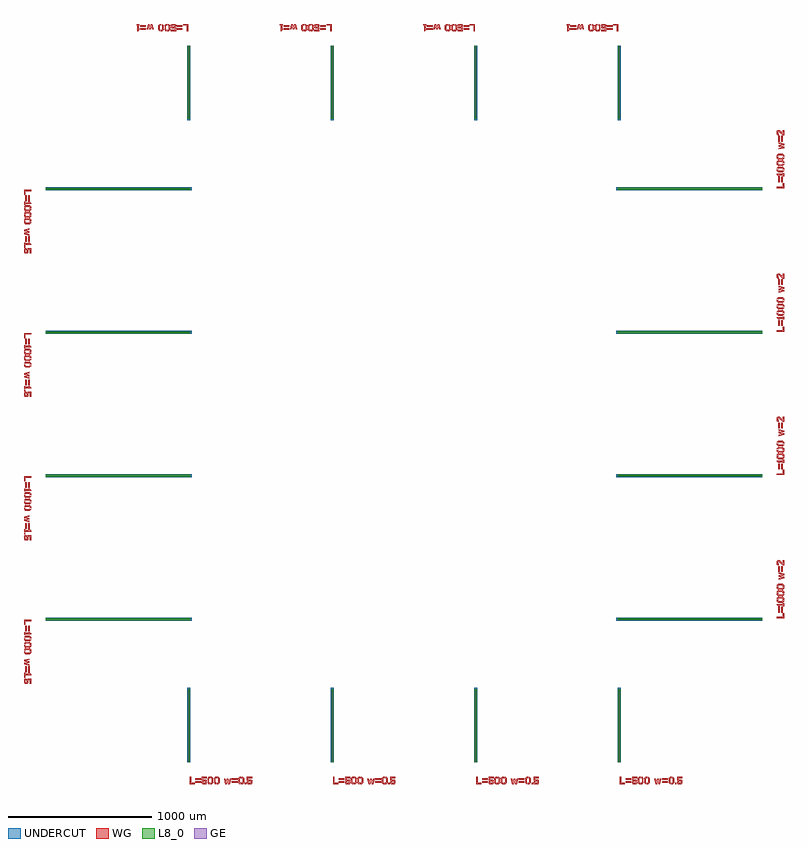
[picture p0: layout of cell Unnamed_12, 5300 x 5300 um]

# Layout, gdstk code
from math import pi, radians
import gdstk
lib = gdstk.Library(unit=1e-6, precision=1e-09)
def R(c, l, rs):  # rectangles x0, y0, x1, y1
    for r in rs: c.add(gdstk.rectangle(r[:2], r[2:], *l))
def P(c, l, *ps):  # polygons
    for p in ps: c.add(gdstk.Polygon(p, *l))
WG = (1, 0)
GE = (5, 0)
UNDERCUT = (6, 0)
L8_0 = (8, 0)

rectangle_s22_1020_l6_0_ = lib.new_cell('rectangle_S22_1020_L6_0_e65ce914')
R(rectangle_s22_1020_l6_0_, UNDERCUT, [(0,0,22,1020)])

rectangle_s2_1000_l5_0__ = lib.new_cell('rectangle_S2_1000_L5_0__abc0439f')
R(rectangle_s2_1000_l5_0__, GE, [(0,0,2,1000)])

rectangle_s11p5_1010_l8_ = lib.new_cell('rectangle_S11p5_1010_L8_233aab19')
R(rectangle_s11p5_1010_l8_, L8_0, [(0,0,11.5,1010)])

text_tl1000_w2_s50_p0_0_ = lib.new_cell('text_TL1000_w2_S50_P0_0_6196c11b')
R(text_tl1000_w2_s50_p0_0_, WG, [(45,10,85,20), (330,10,370,20), (45,30,85,40), (330,30,370,40)])
P(text_tl1000_w2_s50_p0_0_, WG, [(5,0),(5,50),(15,50),(15,10),(40,10),(40,0)],
  [(375,0),(375,10),(400,35),(400,40),(385,40),(385,35),(375,35),(375,45),(380,50),(405,50),(410,45),(410,30),(390,10),(410,10),(410,0)],
  [(133.5,0),(136,10),(140,10),(145,15),(145,35),(140,40),(142.5,50),(145,50),(155,40),(155,10),(145,0)],
  [(178.5,0),(181,10),(185,10),(190,15),(190,35),(185,40),(187.5,50),(190,50),(200,40),(200,10),(190,0)],
  [(223.5,0),(226,10),(230,10),(235,15),(235,35),(230,40),(232.5,50),(235,50),(245,40),(245,10),(235,0)],
  [(125,0),(115,10),(115,40),(125,50),(136.5,50),(134,40),(130,40),(125,35),(125,15),(130,10),(127.5,0)],
  [(170,0),(160,10),(160,40),(170,50),(181.5,50),(179,40),(175,40),(170,35),(170,15),(175,10),(172.5,0)],
  [(215,0),(205,10),(205,40),(215,50),(226.5,50),(224,40),(220,40),(215,35),(215,15),(220,10),(217.5,0)],
  [(285,0),(275,35),(285,35),(290,17.5),(295,35),(305,35),(310,17.5),(315,35),(325,35),(315,0),(305,0),(300,17.5),(295,0)],
  [(90,0),(90,10),(95,10),(95,30),(90,30),(90,40),(100,50),(105,50),(105,10),(110,10),(110,0)])

rectangle_s21p5_1020_l6_ = lib.new_cell('rectangle_S21p5_1020_L6_5e93899b')
R(rectangle_s21p5_1020_l6_, UNDERCUT, [(0,0,21.5,1020)])

rectangle_s12_1010_l8_0_ = lib.new_cell('rectangle_S12_1010_L8_0_02210766')
R(rectangle_s12_1010_l8_0_, L8_0, [(0,0,12,1010)])

rectangle_s10p5_1010_l8_ = lib.new_cell('rectangle_S10p5_1010_L8_3717f936')
R(rectangle_s10p5_1010_l8_, L8_0, [(0,0,10.5,1010)])

rectangle_s1p5_1000_l5__ = lib.new_cell('rectangle_S1p5_1000_L5__7c39a208')
R(rectangle_s1p5_1000_l5__, GE, [(0,0,1.5,1000)])

rectangle_s20p5_1020_l6_ = lib.new_cell('rectangle_S20p5_1020_L6_9f5ee5a2')
R(rectangle_s20p5_1020_l6_, UNDERCUT, [(0,0,20.5,1020)])

rectangle_s11_1010_l8_0_ = lib.new_cell('rectangle_S11_1010_L8_0_b6aa4b73')
R(rectangle_s11_1010_l8_0_, L8_0, [(0,0,11,1010)])

rectangle_s21_1020_l6_0_ = lib.new_cell('rectangle_S21_1020_L6_0_1d906fb0')
R(rectangle_s21_1020_l6_0_, UNDERCUT, [(0,0,21,1020)])

rectangle_s0p5_1000_l5__ = lib.new_cell('rectangle_S0p5_1000_L5__fdde3fbd')
R(rectangle_s0p5_1000_l5__, GE, [(0,0,0.5,1000)])

rectangle_s1_1000_l5_0__ = lib.new_cell('rectangle_S1_1000_L5_0__ff0c7743')
R(rectangle_s1_1000_l5_0__, GE, [(0,0,1,1000)])

unnamed_11 = lib.new_cell('Unnamed_11')
unnamed_11.add(gdstk.Reference(rectangle_s22_1020_l6_0_, (3990,0)))
unnamed_11.add(gdstk.Reference(rectangle_s2_1000_l5_0__, (4000,0)))
unnamed_11.add(gdstk.Reference(rectangle_s11p5_1010_l8_, (2995,0)))
unnamed_11.add(gdstk.Reference(text_tl1000_w2_s50_p0_0_, (1000,-150)))
unnamed_11.add(gdstk.Reference(text_tl1000_w2_s50_p0_0_, (2000,-150)))
unnamed_11.add(gdstk.Reference(text_tl1000_w2_s50_p0_0_, (3000,-150)))
unnamed_11.add(gdstk.Reference(text_tl1000_w2_s50_p0_0_, (4000,-150)))
unnamed_11.add(gdstk.Reference(rectangle_s21p5_1020_l6_, (2990,0)))
unnamed_11.add(gdstk.Reference(rectangle_s12_1010_l8_0_, (3995,0)))
unnamed_11.add(gdstk.Reference(rectangle_s10p5_1010_l8_, (995,0)))
unnamed_11.add(gdstk.Reference(rectangle_s1p5_1000_l5__, (3000,0)))
unnamed_11.add(gdstk.Reference(rectangle_s20p5_1020_l6_, (990,0)))
unnamed_11.add(gdstk.Reference(rectangle_s11_1010_l8_0_, (1995,0)))
unnamed_11.add(gdstk.Reference(rectangle_s21_1020_l6_0_, (1990,0)))
unnamed_11.add(gdstk.Reference(rectangle_s0p5_1000_l5__, (1000,0)))
unnamed_11.add(gdstk.Reference(rectangle_s1_1000_l5_0__, (2000,0)))

rectangle_s20p5_520_l6__ = lib.new_cell('rectangle_S20p5_520_L6__79b64b17')
R(rectangle_s20p5_520_l6__, UNDERCUT, [(0,0,20.5,520)])

rectangle_s21_520_l6_0__ = lib.new_cell('rectangle_S21_520_L6_0__a43d66c6')
R(rectangle_s21_520_l6_0__, UNDERCUT, [(0,0,21,520)])

rectangle_s2_500_l5_0_c_ = lib.new_cell('rectangle_S2_500_L5_0_C_28cbfda4')
R(rectangle_s2_500_l5_0_c_, GE, [(0,0,2,500)])

rectangle_s11p5_510_l8__ = lib.new_cell('rectangle_S11p5_510_L8__30e6584e')
R(rectangle_s11p5_510_l8__, L8_0, [(0,0,11.5,510)])

text_tl500_w1_s50_p0_0__ = lib.new_cell('text_TL500_w1_S50_P0_0__49b9cf80')
R(text_tl500_w1_s50_p0_0__, WG, [(45,10,85,20), (300,10,340,20), (45,30,85,40), (300,30,340,40)])
P(text_tl500_w1_s50_p0_0__, WG, [(345,0),(345,10),(350,10),(350,30),(345,30),(345,40),(355,50),(360,50),(360,10),(365,10),(365,0)],
  [(5,0),(5,50),(15,50),(15,10),(40,10),(40,0)],
  [(148.5,0),(151,10),(155,10),(160,15),(160,35),(155,40),(157.5,50),(160,50),(170,40),(170,10),(160,0)],
  [(193.5,0),(196,10),(200,10),(205,15),(205,35),(200,40),(202.5,50),(205,50),(215,40),(215,10),(205,0)],
  [(140,0),(130,10),(130,40),(140,50),(151.5,50),(149,40),(145,40),(140,35),(140,15),(145,10),(142.5,0)],
  [(185,0),(175,10),(175,40),(185,50),(196.5,50),(194,40),(190,40),(185,35),(185,15),(190,10),(187.5,0)],
  [(95,0),(90,5),(90,15),(100,15),(100,10),(115,10),(115,20),(95,20),(90,25),(90,50),(125,50),(125,40),(100,40),(100,30),(120,30),(125,25),(125,5),(120,0)],
  [(255,0),(245,35),(255,35),(260,17.5),(265,35),(275,35),(280,17.5),(285,35),(295,35),(285,0),(275,0),(270,17.5),(265,0)])

rectangle_s21p5_520_l6__ = lib.new_cell('rectangle_S21p5_520_L6__904162f9')
R(rectangle_s21p5_520_l6__, UNDERCUT, [(0,0,21.5,520)])

rectangle_s12_510_l8_0__ = lib.new_cell('rectangle_S12_510_L8_0__7856cf41')
R(rectangle_s12_510_l8_0__, L8_0, [(0,0,12,510)])

rectangle_s1p5_500_l5_0_ = lib.new_cell('rectangle_S1p5_500_L5_0_4cbd8c13')
R(rectangle_s1p5_500_l5_0_, GE, [(0,0,1.5,500)])

rectangle_s22_520_l6_0__ = lib.new_cell('rectangle_S22_520_L6_0__bad4d0ba')
R(rectangle_s22_520_l6_0__, UNDERCUT, [(0,0,22,520)])

rectangle_s10p5_510_l8__ = lib.new_cell('rectangle_S10p5_510_L8__4a735b76')
R(rectangle_s10p5_510_l8__, L8_0, [(0,0,10.5,510)])

rectangle_s11_510_l8_0__ = lib.new_cell('rectangle_S11_510_L8_0__012e07eb')
R(rectangle_s11_510_l8_0__, L8_0, [(0,0,11,510)])

rectangle_s1_500_l5_0_c_ = lib.new_cell('rectangle_S1_500_L5_0_C_7a725fb0')
R(rectangle_s1_500_l5_0_c_, GE, [(0,0,1,500)])

rectangle_s0p5_500_l5_0_ = lib.new_cell('rectangle_S0p5_500_L5_0_ba7ba93c')
R(rectangle_s0p5_500_l5_0_, GE, [(0,0,0.5,500)])

unnamed_9 = lib.new_cell('Unnamed_9')
unnamed_9.add(gdstk.Reference(rectangle_s20p5_520_l6__, (990,0)))
unnamed_9.add(gdstk.Reference(rectangle_s21_520_l6_0__, (1990,0)))
unnamed_9.add(gdstk.Reference(rectangle_s2_500_l5_0_c_, (4000,0)))
unnamed_9.add(gdstk.Reference(rectangle_s11p5_510_l8__, (2995,0)))
unnamed_9.add(gdstk.Reference(text_tl500_w1_s50_p0_0__, (1000,-150)))
unnamed_9.add(gdstk.Reference(text_tl500_w1_s50_p0_0__, (2000,-150)))
unnamed_9.add(gdstk.Reference(text_tl500_w1_s50_p0_0__, (3000,-150)))
unnamed_9.add(gdstk.Reference(text_tl500_w1_s50_p0_0__, (4000,-150)))
unnamed_9.add(gdstk.Reference(rectangle_s21p5_520_l6__, (2990,0)))
unnamed_9.add(gdstk.Reference(rectangle_s12_510_l8_0__, (3995,0)))
unnamed_9.add(gdstk.Reference(rectangle_s1p5_500_l5_0_, (3000,0)))
unnamed_9.add(gdstk.Reference(rectangle_s22_520_l6_0__, (3990,0)))
unnamed_9.add(gdstk.Reference(rectangle_s10p5_510_l8__, (995,0)))
unnamed_9.add(gdstk.Reference(rectangle_s11_510_l8_0__, (1995,0)))
unnamed_9.add(gdstk.Reference(rectangle_s1_500_l5_0_c_, (2000,0)))
unnamed_9.add(gdstk.Reference(rectangle_s0p5_500_l5_0_, (1000,0)))

text_tl1000_w1p5_s50_p0_ = lib.new_cell('text_TL1000_w1p5_S50_P0_775d5ec3')
R(text_tl1000_w1p5_s50_p0_, WG, [(400,0,410,10), (45,10,85,20), (330,10,370,20), (45,30,85,40), (330,30,370,40)])
P(text_tl1000_w1p5_s50_p0_, WG, [(420,0),(415,5),(415,15),(425,15),(425,10),(440,10),(440,20),(420,20),(415,25),(415,50),(450,50),(450,40),(425,40),(425,30),(445,30),(450,25),(450,5),(445,0)],
  [(133.5,0),(136,10),(140,10),(145,15),(145,35),(140,40),(142.5,50),(145,50),(155,40),(155,10),(145,0)],
  [(178.5,0),(181,10),(185,10),(190,15),(190,35),(185,40),(187.5,50),(190,50),(200,40),(200,10),(190,0)],
  [(223.5,0),(226,10),(230,10),(235,15),(235,35),(230,40),(232.5,50),(235,50),(245,40),(245,10),(235,0)],
  [(125,0),(115,10),(115,40),(125,50),(136.5,50),(134,40),(130,40),(125,35),(125,15),(130,10),(127.5,0)],
  [(170,0),(160,10),(160,40),(170,50),(181.5,50),(179,40),(175,40),(170,35),(170,15),(175,10),(172.5,0)],
  [(215,0),(205,10),(205,40),(215,50),(226.5,50),(224,40),(220,40),(215,35),(215,15),(220,10),(217.5,0)],
  [(5,0),(5,50),(15,50),(15,10),(40,10),(40,0)],
  [(285,0),(275,35),(285,35),(290,17.5),(295,35),(305,35),(310,17.5),(315,35),(325,35),(315,0),(305,0),(300,17.5),(295,0)],
  [(90,0),(90,10),(95,10),(95,30),(90,30),(90,40),(100,50),(105,50),(105,10),(110,10),(110,0)],
  [(375,0),(375,10),(380,10),(380,30),(375,30),(375,40),(385,50),(390,50),(390,10),(395,10),(395,0)])

unnamed_10 = lib.new_cell('Unnamed_10')
unnamed_10.add(gdstk.Reference(rectangle_s22_1020_l6_0_, (3990,0)))
unnamed_10.add(gdstk.Reference(rectangle_s2_1000_l5_0__, (4000,0)))
unnamed_10.add(gdstk.Reference(rectangle_s11p5_1010_l8_, (2995,0)))
unnamed_10.add(gdstk.Reference(text_tl1000_w1p5_s50_p0_, (1000,-150)))
unnamed_10.add(gdstk.Reference(text_tl1000_w1p5_s50_p0_, (2000,-150)))
unnamed_10.add(gdstk.Reference(text_tl1000_w1p5_s50_p0_, (3000,-150)))
unnamed_10.add(gdstk.Reference(text_tl1000_w1p5_s50_p0_, (4000,-150)))
unnamed_10.add(gdstk.Reference(rectangle_s21p5_1020_l6_, (2990,0)))
unnamed_10.add(gdstk.Reference(rectangle_s12_1010_l8_0_, (3995,0)))
unnamed_10.add(gdstk.Reference(rectangle_s10p5_1010_l8_, (995,0)))
unnamed_10.add(gdstk.Reference(rectangle_s1p5_1000_l5__, (3000,0)))
unnamed_10.add(gdstk.Reference(rectangle_s20p5_1020_l6_, (990,0)))
unnamed_10.add(gdstk.Reference(rectangle_s11_1010_l8_0_, (1995,0)))
unnamed_10.add(gdstk.Reference(rectangle_s0p5_1000_l5__, (1000,0)))
unnamed_10.add(gdstk.Reference(rectangle_s21_1020_l6_0_, (1990,0)))
unnamed_10.add(gdstk.Reference(rectangle_s1_1000_l5_0__, (2000,0)))

text_tl500_w0p5_s50_p0__ = lib.new_cell('text_TL500_w0p5_S50_P0__7b2a7c4f')
R(text_tl500_w0p5_s50_p0__, WG, [(390,0,400,10), (45,10,85,20), (300,10,340,20), (45,30,85,40), (300,30,340,40)])
P(text_tl500_w0p5_s50_p0__, WG, [(148.5,0),(151,10),(155,10),(160,15),(160,35),(155,40),(157.5,50),(160,50),(170,40),(170,10),(160,0)],
  [(193.5,0),(196,10),(200,10),(205,15),(205,35),(200,40),(202.5,50),(205,50),(215,40),(215,10),(205,0)],
  [(363.5,0),(366,10),(370,10),(375,15),(375,35),(370,40),(372.5,50),(375,50),(385,40),(385,10),(375,0)],
  [(140,0),(130,10),(130,40),(140,50),(151.5,50),(149,40),(145,40),(140,35),(140,15),(145,10),(142.5,0)],
  [(185,0),(175,10),(175,40),(185,50),(196.5,50),(194,40),(190,40),(185,35),(185,15),(190,10),(187.5,0)],
  [(355,0),(345,10),(345,40),(355,50),(366.5,50),(364,40),(360,40),(355,35),(355,15),(360,10),(357.5,0)],
  [(5,0),(5,50),(15,50),(15,10),(40,10),(40,0)],
  [(95,0),(90,5),(90,15),(100,15),(100,10),(115,10),(115,20),(95,20),(90,25),(90,50),(125,50),(125,40),(100,40),(100,30),(120,30),(125,25),(125,5),(120,0)],
  [(410,0),(405,5),(405,15),(415,15),(415,10),(430,10),(430,20),(410,20),(405,25),(405,50),(440,50),(440,40),(415,40),(415,30),(435,30),(440,25),(440,5),(435,0)],
  [(255,0),(245,35),(255,35),(260,17.5),(265,35),(275,35),(280,17.5),(285,35),(295,35),(285,0),(275,0),(270,17.5),(265,0)])

unnamed_8 = lib.new_cell('Unnamed_8')
unnamed_8.add(gdstk.Reference(rectangle_s20p5_520_l6__, (990,0)))
unnamed_8.add(gdstk.Reference(rectangle_s21_520_l6_0__, (1990,0)))
unnamed_8.add(gdstk.Reference(rectangle_s2_500_l5_0_c_, (4000,0)))
unnamed_8.add(gdstk.Reference(rectangle_s11p5_510_l8__, (2995,0)))
unnamed_8.add(gdstk.Reference(rectangle_s21p5_520_l6__, (2990,0)))
unnamed_8.add(gdstk.Reference(rectangle_s12_510_l8_0__, (3995,0)))
unnamed_8.add(gdstk.Reference(rectangle_s1p5_500_l5_0_, (3000,0)))
unnamed_8.add(gdstk.Reference(rectangle_s22_520_l6_0__, (3990,0)))
unnamed_8.add(gdstk.Reference(rectangle_s10p5_510_l8__, (995,0)))
unnamed_8.add(gdstk.Reference(rectangle_s11_510_l8_0__, (1995,0)))
unnamed_8.add(gdstk.Reference(rectangle_s1_500_l5_0_c_, (2000,0)))
unnamed_8.add(gdstk.Reference(rectangle_s0p5_500_l5_0_, (1000,0)))
unnamed_8.add(gdstk.Reference(text_tl500_w0p5_s50_p0__, (1000,-150)))
unnamed_8.add(gdstk.Reference(text_tl500_w0p5_s50_p0__, (2000,-150)))
unnamed_8.add(gdstk.Reference(text_tl500_w0p5_s50_p0__, (3000,-150)))
unnamed_8.add(gdstk.Reference(text_tl500_w0p5_s50_p0__, (4000,-150)))

unnamed_12 = lib.new_cell('Unnamed_12')
unnamed_12.add(gdstk.Reference(unnamed_11, (5000,0), rotation=pi/2))
unnamed_12.add(gdstk.Reference(unnamed_9, (5000,5000), rotation=pi))
unnamed_12.add(gdstk.Reference(unnamed_10, (0,5000), rotation=3*pi/2))
unnamed_12.add(gdstk.Reference(unnamed_8, (0,0)))

lib.write_gds('Unnamed_12.gds')
